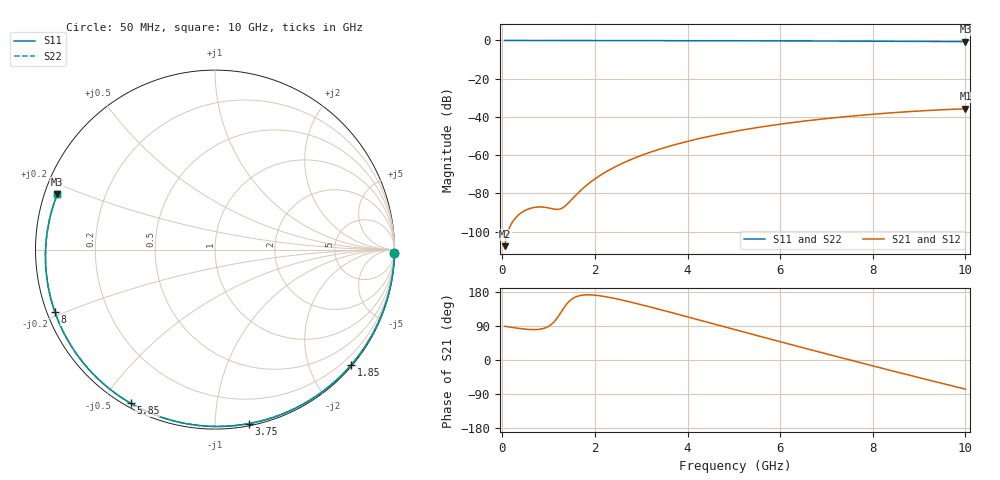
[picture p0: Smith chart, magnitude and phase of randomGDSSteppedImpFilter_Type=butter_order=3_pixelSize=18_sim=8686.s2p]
! freq	dB(S11)	phase(S11)	dB(S12)	phase(S12)
!  dB(S21)	phase(S21)	dB(S22)	phase(S22)
!S-par simulation data
#  GHz  S  DB  R 50
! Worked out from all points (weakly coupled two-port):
!   200 points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, 50 MHz to 10 GHz, reference 50 ohm
!   highest |S21| = -35.72 dB at 10 GHz (marker M1); lowest = -107.6 dB at 50 MHz (marker M2)
!   lowest |S11| = -0.6 dB at 10 GHz (marker M3), VSWR 28.13, Z = 1.83 + j8.5 ohm
!   |S11| at or under -10 dB: nowhere
!   |S22| runs from -0.6 to 0.0 dB; largest |S21 - S12| = 0
!   S11 on the Smith chart (normalised r, x): 50 MHz: open; 1.85 GHz: 0.02, -2.73; 3.75 GHz: 0.02, -1.21; 5.85 GHz: 0.02, -0.59; 8 GHz: 0.02, -0.19; 10 GHz: 0.04, +0.17
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0.05  -0.00 -1.1  -107.56 89.0  -107.56 89.0  -0.00 -1.1
0.4  -0.01 -8.9  -90.26 82.7  -90.26 82.7  -0.01 -8.9
0.8  -0.02 -17.7  -87.05 81.1  -87.05 81.1  -0.02 -17.7
1.6  -0.04 -35.0  -80.62 167.2  -80.62 167.2  -0.04 -35.0
1.65  -0.05 -36.0  -79.41 169.2  -79.41 169.2  -0.05 -36.0
1.75  -0.05 -38.2  -77.15 171.4  -77.15 171.4  -0.05 -38.2
1.85  -0.05 -40.3  -75.11 172.0  -75.11 172.0  -0.05 -40.3
2.15  -0.06 -46.6  -69.97 168.7  -69.97 168.7  -0.06 -46.6
2.5  -0.07 -53.9  -65.30 160.5  -65.30 160.5  -0.07 -53.9
2.9  -0.08 -62.1  -61.06 149.0  -61.06 149.0  -0.08 -62.1
3.4  -0.10 -72.2  -56.82 133.4  -56.82 133.4  -0.10 -72.2
3.75  -0.11 -79.1  -54.34 122.0  -54.34 122.0  -0.11 -79.1
4.4  -0.13 -91.7  -50.50 100.7  -50.50 100.7  -0.13 -91.7
5.05  -0.16 -104.0  -47.39 79.3  -47.39 79.3  -0.16 -104.0
5.85  -0.21 -118.8  -44.29 53.1  -44.29 53.1  -0.21 -118.8
6.7  -0.26 -134.4  -41.64 25.7  -41.64 25.7  -0.26 -134.4
7.35  -0.32 -146.4  -39.98 5.0  -39.98 5.0  -0.32 -146.4
8  -0.38 -158.6  -38.58 -15.5  -38.58 -15.5  -0.38 -158.6
8.35  -0.42 -165.3  -37.92 -26.4  -37.92 -26.4  -0.42 -165.3
9.2  -0.51 177.8  -36.60 -52.7  -36.60 -52.7  -0.51 177.8
9.6  -0.57 169.4  -36.12 -64.9  -36.12 -64.9  -0.57 169.4
10  -0.62 160.7  -35.72 -76.9  -35.72 -76.9  -0.62 160.7
